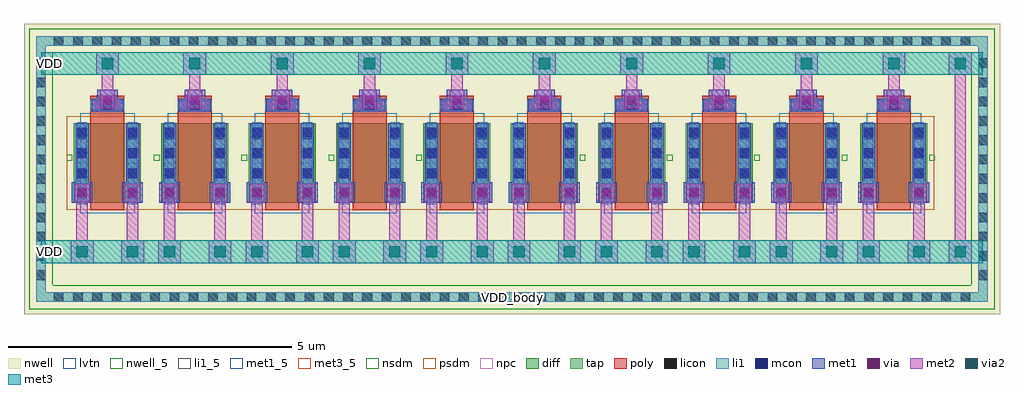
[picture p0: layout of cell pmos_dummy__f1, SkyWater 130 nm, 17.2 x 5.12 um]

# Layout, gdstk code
from math import pi, radians
import gdstk
lib = gdstk.Library(unit=1e-6, precision=1e-09)
def R(c, l, rs):  # rectangles x0, y0, x1, y1
    for r in rs: c.add(gdstk.rectangle(r[:2], r[2:], *l))
def A(c, l, x, y, w, h, nx, ny, dx, dy):  # array of equal rectangles
    R(c, l, [(x+i*dx, y+j*dy, x+i*dx+w, y+j*dy+h) for i in range(nx) for j in range(ny)])
nwell_5 = (64, 5)
nwell = (64, 20)
diff = (65, 20)
tap = (65, 44)
poly = (66, 20)
licon = (66, 44)
li1_5 = (67, 5)
li1 = (67, 20)
mcon = (67, 44)
met1_5 = (68, 5)
met1 = (68, 20)
via = (68, 44)
met2 = (69, 20)
via2 = (69, 44)
met3_5 = (70, 5)
met3 = (70, 20)
nsdm = (93, 44)
psdm = (94, 20)
npc = (95, 20)
lvtn = (125, 44)

sky130_fd_pr__pfet_01v8_ = lib.new_cell('sky130_fd_pr__pfet_01v8_lvt_L7GY3J')
R(sky130_fd_pr__pfet_01v8_, nwell, [(-0.77,-1.19,0.77,1.02)])
R(sky130_fd_pr__pfet_01v8_, diff, [(-0.59,-0.88,0.59,0.52)])
R(sky130_fd_pr__pfet_01v8_, poly, [(-0.3,-1.01,0.3,1.005)])
A(sky130_fd_pr__pfet_01v8_, licon, -0.53, -0.775, 0.17, 0.17, 1, 4, 0, 0.34)
A(sky130_fd_pr__pfet_01v8_, licon, 0.36, -0.775, 0.17, 0.17, 1, 4, 0, 0.34)
R(sky130_fd_pr__pfet_01v8_, licon, [(-0.085,0.755,0.085,0.925)])
R(sky130_fd_pr__pfet_01v8_, li1, [(-0.53,-0.9,-0.36,0.54), (0.36,-0.9,0.53,0.54), (-0.3,0.755,0.3,0.925)])
A(sky130_fd_pr__pfet_01v8_, mcon, -0.53, -0.805, 0.17, 0.17, 1, 4, 0, 0.36)
A(sky130_fd_pr__pfet_01v8_, mcon, 0.36, -0.805, 0.17, 0.17, 1, 4, 0, 0.36)
R(sky130_fd_pr__pfet_01v8_, mcon, [(-0.085,0.755,0.085,0.925)])
R(sky130_fd_pr__pfet_01v8_, met1, [(-0.56,-0.88,-0.33,0.52), (0.33,-0.88,0.56,0.52), (-0.28,0.725,0.28,0.955)])
R(sky130_fd_pr__pfet_01v8_, psdm, [(-0.715,-1.005,0.715,0.645)])
R(sky130_fd_pr__pfet_01v8_, npc, [(-0.185,0.655,0.185,1.025)])
R(sky130_fd_pr__pfet_01v8_, lvtn, [(-0.48,-1.06,0.48,0.7)])
sky130_fd_pr__pfet_01v8_.add(gdstk.Label('D', (-0.445,-0.18), layer=67, texttype=5))
sky130_fd_pr__pfet_01v8_.add(gdstk.Label('S', (0.445,-0.18), layer=67, texttype=5))
sky130_fd_pr__pfet_01v8_.add(gdstk.Label('G', (0,0.84), layer=67, texttype=5))

pfet_01v8_lvt_w1p4_l0p6_ = lib.new_cell('pfet_01v8_lvt_W1p4_L0p6_m8__nf1_gtop_sdfull_ng')
R(pfet_01v8_lvt_w1p4_l0p6_, nwell_5, [(0.05,1.055,0.15,1.155)])
R(pfet_01v8_lvt_w1p4_l0p6_, nwell, [(0.05,1.055,0.15,1.155)])
R(pfet_01v8_lvt_w1p4_l0p6_, met1_5, [(0.21,1.01,0.44,1.21), (1.1,1.01,1.33,1.21), (0.49,1.915,1.05,2.145)])
R(pfet_01v8_lvt_w1p4_l0p6_, met1, [(0.21,1.01,0.44,1.21), (1.1,1.01,1.33,1.21), (0.49,1.915,1.05,2.145)])
pfet_01v8_lvt_w1p4_l0p6_.add(gdstk.Reference(sky130_fd_pr__pfet_01v8_, (0.77,1.19)))
pfet_01v8_lvt_w1p4_l0p6_.add(gdstk.Label('D', (0.325,1.11), layer=68, texttype=5))
pfet_01v8_lvt_w1p4_l0p6_.add(gdstk.Label('S', (1.215,1.11), layer=68, texttype=5))
pfet_01v8_lvt_w1p4_l0p6_.add(gdstk.Label('G', (0.77,2.03), layer=68, texttype=5))
pfet_01v8_lvt_w1p4_l0p6_.add(gdstk.Label('B', (0.1,1.105), layer=64, texttype=5))

pmos_dummy__f1 = lib.new_cell('pmos_dummy__f1')
R(pmos_dummy__f1, nwell, [(-0.7,-1.65,16.5,3.465)])
R(pmos_dummy__f1, tap, [(-0.485,-1.435,16.285,-1.265), (-0.485,-1.265,-0.315,3.08), (16.115,-1.265,16.285,3.08), (-0.485,3.08,16.285,3.25)])
A(pmos_dummy__f1, licon, -0.175, -1.435, 0.17, 0.17, 48, 2, 0.34, 4.515)
A(pmos_dummy__f1, licon, -0.485, -1.05, 0.17, 0.17, 1, 12, 0, 0.34)
A(pmos_dummy__f1, licon, 16.115, -1.05, 0.17, 0.17, 1, 12, 0, 0.34)
R(pmos_dummy__f1, li1_5, [(7.85,-1.4,7.95,-1.3)])
R(pmos_dummy__f1, li1, [(-0.485,-1.435,16.285,-1.265), (-0.485,-1.265,-0.315,3.08), (16.115,-1.265,16.285,3.08), (-0.485,3.08,16.285,3.25)])
A(pmos_dummy__f1, met1, 0.59, 1.945, 0.36, 0.36, 10, 1, 1.54, 0)
R(pmos_dummy__f1, met1, [(0.145,0.31,0.505,0.67), (1.035,0.31,1.395,0.67), (1.685,0.31,2.045,0.67), (2.575,0.31,2.935,0.67), (3.225,0.31,3.585,0.67), (4.115,0.31,4.475,0.67), (4.765,0.31,5.125,0.67), (5.655,0.31,6.015,0.67), (6.305,0.31,6.665,0.67), (7.195,0.31,7.555,0.67), (7.845,0.31,8.205,0.67), (8.735,0.31,9.095,0.67), (9.385,0.31,9.745,0.67), (10.275,0.31,10.635,0.67), (10.925,0.31,11.285,0.67), (11.815,0.31,12.175,0.67), (12.465,0.31,12.825,0.67), (13.355,0.31,13.715,0.67), (14.005,0.31,14.365,0.67), (14.895,0.31,15.255,0.67)])
A(pmos_dummy__f1, via, 0.695, 2.05, 0.15, 0.15, 10, 1, 1.54, 0)
R(pmos_dummy__f1, via, [(0.25,0.415,0.4,0.565), (1.14,0.415,1.29,0.565), (1.79,0.415,1.94,0.565), (2.68,0.415,2.83,0.565), (3.33,0.415,3.48,0.565), (4.22,0.415,4.37,0.565), (4.87,0.415,5.02,0.565), (5.76,0.415,5.91,0.565), (6.41,0.415,6.56,0.565), (7.3,0.415,7.45,0.565), (7.95,0.415,8.1,0.565), (8.84,0.415,8.99,0.565), (9.49,0.415,9.64,0.565), (10.38,0.415,10.53,0.565), (11.03,0.415,11.18,0.565), (11.92,0.415,12.07,0.565), (12.57,0.415,12.72,0.565), (13.46,0.415,13.61,0.565), (14.11,0.415,14.26,0.565), (15,0.415,15.15,0.565)])
A(pmos_dummy__f1, met2, 0.64, 1.965, 0.26, 0.32, 10, 1, 1.54, 0)
A(pmos_dummy__f1, met2, 0.67, 2.285, 0.2, 0.28, 10, 1, 1.54, 0)
A(pmos_dummy__f1, met2, 0.57, 2.565, 0.4, 0.4, 10, 1, 1.54, 0)
R(pmos_dummy__f1, met2, [(0.125,-0.75,0.525,-0.35), (1.015,-0.75,1.415,-0.35), (1.665,-0.75,2.065,-0.35), (2.555,-0.75,2.955,-0.35), (3.205,-0.75,3.605,-0.35), (4.095,-0.75,4.495,-0.35), (4.745,-0.75,5.145,-0.35), (5.635,-0.75,6.035,-0.35), (6.285,-0.75,6.685,-0.35), (7.175,-0.75,7.575,-0.35), (7.825,-0.75,8.225,-0.35), (8.715,-0.75,9.115,-0.35), (9.365,-0.75,9.765,-0.35), (10.255,-0.75,10.655,-0.35), (10.905,-0.75,11.305,-0.35), (11.795,-0.75,12.195,-0.35), (12.445,-0.75,12.845,-0.35), (13.335,-0.75,13.735,-0.35), (13.985,-0.75,14.385,-0.35), (14.875,-0.75,15.275,-0.35), (15.6,-0.75,16,-0.35), (0.225,-0.35,0.425,0.33), (1.115,-0.35,1.315,0.33), (1.765,-0.35,1.965,0.33), (2.655,-0.35,2.855,0.33), (3.305,-0.35,3.505,0.33), (4.195,-0.35,4.395,0.33), (4.845,-0.35,5.045,0.33), (5.735,-0.35,5.935,0.33), (6.385,-0.35,6.585,0.33), (7.275,-0.35,7.475,0.33), (7.925,-0.35,8.125,0.33), (8.815,-0.35,9.015,0.33), (9.465,-0.35,9.665,0.33), (10.355,-0.35,10.555,0.33), (11.005,-0.35,11.205,0.33), (11.895,-0.35,12.095,0.33), (12.545,-0.35,12.745,0.33), (13.435,-0.35,13.635,0.33), (14.085,-0.35,14.285,0.33), (14.975,-0.35,15.175,0.33), (15.7,-0.35,15.9,2.565), (0.195,0.33,0.455,0.65), (1.085,0.33,1.345,0.65), (1.735,0.33,1.995,0.65), (2.625,0.33,2.885,0.65), (3.275,0.33,3.535,0.65), (4.165,0.33,4.425,0.65), (4.815,0.33,5.075,0.65), (5.705,0.33,5.965,0.65), (6.355,0.33,6.615,0.65), (7.245,0.33,7.505,0.65), (7.895,0.33,8.155,0.65), (8.785,0.33,9.045,0.65), (9.435,0.33,9.695,0.65), (10.325,0.33,10.585,0.65), (10.975,0.33,11.235,0.65), (11.865,0.33,12.125,0.65), (12.515,0.33,12.775,0.65), (13.405,0.33,13.665,0.65), (14.055,0.33,14.315,0.65), (14.945,0.33,15.205,0.65), (15.6,2.565,16,2.965)])
A(pmos_dummy__f1, via2, 0.67, 2.665, 0.2, 0.2, 10, 1, 1.54, 0)
R(pmos_dummy__f1, via2, [(0.225,-0.65,0.425,-0.45), (1.115,-0.65,1.315,-0.45), (1.765,-0.65,1.965,-0.45), (2.655,-0.65,2.855,-0.45), (3.305,-0.65,3.505,-0.45), (4.195,-0.65,4.395,-0.45), (4.845,-0.65,5.045,-0.45), (5.735,-0.65,5.935,-0.45), (6.385,-0.65,6.585,-0.45), (7.275,-0.65,7.475,-0.45), (7.925,-0.65,8.125,-0.45), (8.815,-0.65,9.015,-0.45), (9.465,-0.65,9.665,-0.45), (10.355,-0.65,10.555,-0.45), (11.005,-0.65,11.205,-0.45), (11.895,-0.65,12.095,-0.45), (12.545,-0.65,12.745,-0.45), (13.435,-0.65,13.635,-0.45), (14.085,-0.65,14.285,-0.45), (14.975,-0.65,15.175,-0.45), (15.7,-0.65,15.9,-0.45), (15.7,2.665,15.9,2.865)])
R(pmos_dummy__f1, met3_5, [(-0.3,-0.6,-0.2,-0.5), (-0.3,2.715,-0.2,2.815)])
R(pmos_dummy__f1, met3, [(-0.4,-0.75,16.2,-0.35), (-0.4,2.565,16.2,2.965)])
R(pmos_dummy__f1, nsdm, [(-0.61,-1.56,16.41,-1.14), (-0.61,-1.14,-0.19,2.955), (15.99,-1.14,16.41,2.955), (-0.61,2.955,16.41,3.375)])
A(pmos_dummy__f1, psdm, 1.485, 0.185, 0.11, 1.65, 9, 1, 1.54, 0)
pmos_dummy__f1.add(gdstk.Reference(pfet_01v8_lvt_w1p4_l0p6_, (15.4,0), rotation=pi, x_reflection=True))
pmos_dummy__f1.add(gdstk.Reference(pfet_01v8_lvt_w1p4_l0p6_, (13.86,0), rotation=pi, x_reflection=True))
pmos_dummy__f1.add(gdstk.Reference(pfet_01v8_lvt_w1p4_l0p6_, (12.32,0), rotation=pi, x_reflection=True))
pmos_dummy__f1.add(gdstk.Reference(pfet_01v8_lvt_w1p4_l0p6_, (10.78,0), rotation=pi, x_reflection=True))
pmos_dummy__f1.add(gdstk.Reference(pfet_01v8_lvt_w1p4_l0p6_, (9.24,0), rotation=pi, x_reflection=True))
pmos_dummy__f1.add(gdstk.Reference(pfet_01v8_lvt_w1p4_l0p6_, (6.16,0)))
pmos_dummy__f1.add(gdstk.Reference(pfet_01v8_lvt_w1p4_l0p6_, (4.62,0)))
pmos_dummy__f1.add(gdstk.Reference(pfet_01v8_lvt_w1p4_l0p6_, (3.08,0)))
pmos_dummy__f1.add(gdstk.Reference(pfet_01v8_lvt_w1p4_l0p6_, (1.54,0)))
pmos_dummy__f1.add(gdstk.Reference(pfet_01v8_lvt_w1p4_l0p6_, (0,0)))
pmos_dummy__f1.add(gdstk.Label('VDD', (-0.25,2.765), layer=70, texttype=5))
pmos_dummy__f1.add(gdstk.Label('VDD', (-0.25,-0.55), layer=70, texttype=5))
pmos_dummy__f1.add(gdstk.Label('VDD_body', (7.9,-1.35), layer=67, texttype=5))

lib.write_gds('pmos_dummy__f1.gds')
